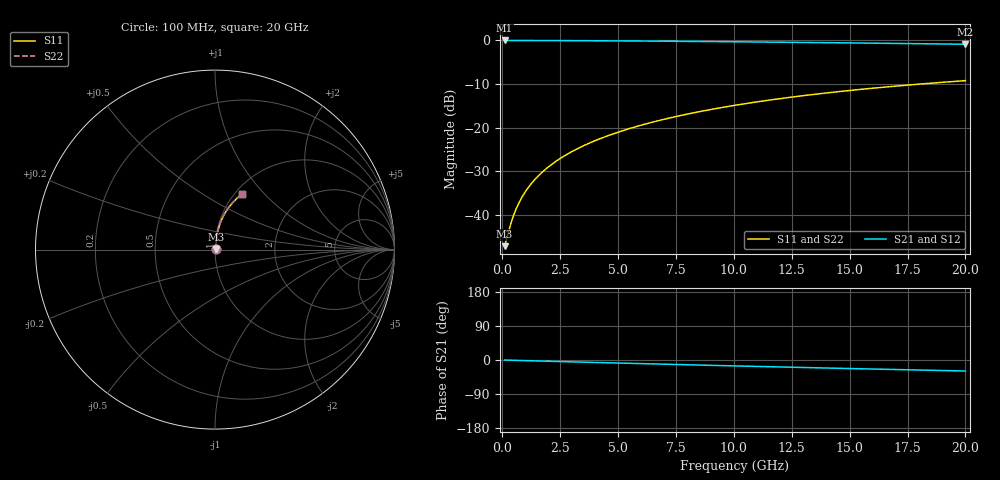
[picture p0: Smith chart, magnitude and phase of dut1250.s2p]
! Touchstone file exported from HFSS 2024.1.0
!  File:  C:/UserFiles/LocalFiles/RDL_TSV_Batchsim/temp_RDL_top_1250_1780241361.aedt
!  Generated:  11:31:42 PM May 31, 2026
!  Design:  RDL_top
!  Project:  temp_RDL_top_1250_1780241361
!  Setup:  Setup1
!  Solution:  Sweep
! Variables:
!  dtsv = 10.80580581um
!  hbump = 3um
!  htsv = 62.83um
!  ldown = 100um
!  lrdl = 339.28um
!  p = 40
!  p1 = 49.52um
!  rhole = 1um
!  t = 450um
!  tdown = 3.915915916um
!  trdl = 2.09um
!  wdown = 15.38538539um
!  wrdl = 15.42um
# GHz S MA R 50.000000
! Terminal data exported
! Port[1] = Box2_T1
! Port[2] = Box2_T2
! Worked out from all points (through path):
!   200 points, 100 MHz to 20 GHz, reference 50 ohm
!   highest |S21| = -0.03 dB at 100 MHz (marker M1); lowest = -0.9 dB at 20 GHz (marker M2)
!   group delay of S21, straight-line fit = 4.03 ps
!   lowest |S11| = -47.1 dB at 100 MHz (marker M3), VSWR 1.01, Z = 50.4 + j0.187 ohm
!   |S11| at or under -10 dB: start of sweep to 18.07 GHz
!   |S22| runs from -47.1 to -9.2 dB; largest |S21 - S12| = 2.1e-15
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0.1  0.004415 24.9  0.996 -0.2  0.996 -0.2  0.004415 24.9
! Gamma 0 0 0 0
! Port Impedance 50 0 50 0
0.3  0.006901 53.4  0.9959 -0.5  0.9959 -0.5  0.006901 53.4
0.4  0.008473 60.3  0.9958 -0.7  0.9958 -0.7  0.008473 60.3
0.5  0.01012 64.9  0.9957 -0.8  0.9957 -0.8  0.01012 64.9
0.6  0.0118 68.1  0.9955 -1.0  0.9955 -1.0  0.0118 68.1
0.7  0.01349 70.5  0.9954 -1.2  0.9954 -1.2  0.01349 70.5
0.9  0.0169 73.7  0.9951 -1.5  0.9951 -1.5  0.0169 73.7
1.2  0.02203 76.7  0.9947 -2.0  0.9947 -2.0  0.02203 76.7
1.4  0.02545 78.0  0.9944 -2.3  0.9944 -2.3  0.02545 78.0
1.7  0.03061 79.4  0.994 -2.8  0.994 -2.8  0.03061 79.4
2.2  0.03926 80.8  0.9931 -3.6  0.9931 -3.6  0.03926 80.8
2.8  0.04973 81.7  0.9918 -4.6  0.9918 -4.6  0.04973 81.7
3.5  0.06207 82.1  0.9901 -5.7  0.9901 -5.7  0.06206 82.1
4.2  0.07452 82.1  0.988 -6.8  0.988 -6.8  0.07452 82.1
5  0.08888 81.9  0.9853 -8.1  0.9853 -8.1  0.08887 81.8
5.9  0.1051 81.3  0.9819 -9.4  0.9819 -9.4  0.1051 81.3
6.8  0.1215 80.5  0.9782 -10.8  0.9782 -10.8  0.1215 80.5
8.4  0.1506 78.9  0.9708 -13.2  0.9708 -13.2  0.1506 78.9
10.1  0.1814 76.8  0.9622 -15.7  0.9622 -15.7  0.1814 76.8
13.4  0.2396 72.5  0.9436 -20.4  0.9436 -20.4  0.2395 72.5
16.7  0.2946 68.1  0.9232 -24.8  0.9232 -24.8  0.2945 68.1
20  0.3456 63.8  0.9016 -29.1  0.9016 -29.1  0.3455 63.8
